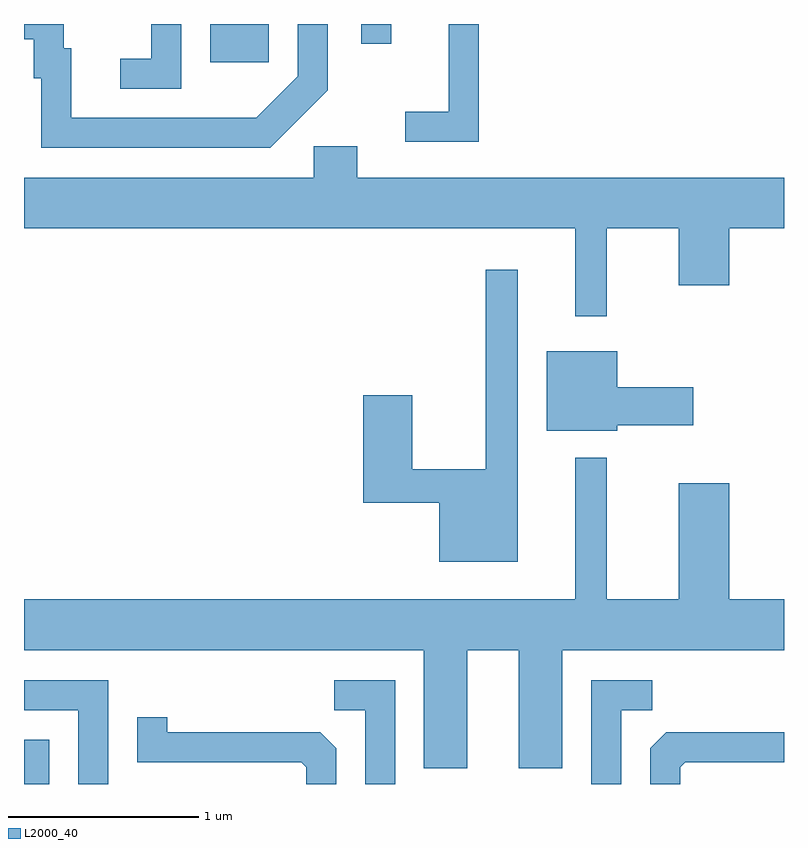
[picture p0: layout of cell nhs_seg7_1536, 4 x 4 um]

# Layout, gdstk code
import gdstk
lib = gdstk.Library(unit=1e-6, precision=1e-09)
def R(c, l, rs):  # rectangles x0, y0, x1, y1
    for r in rs: c.add(gdstk.rectangle(r[:2], r[2:], *l))
def P(c, l, *ps):  # polygons
    for p in ps: c.add(gdstk.Polygon(p, *l))
L2000_40 = (2000, 40)

nhs_seg7_1536 = lib.new_cell('nhs_seg7_1536')
R(nhs_seg7_1536, L2000_40, [(231.611,1740.252,231.744,1740.484), (232.591,1744.051,232.899,1744.252), (233.386,1744.148,233.544,1744.252)])
P(nhs_seg7_1536, L2000_40, [(233.209,1743.904),(233.209,1744.252),(233.051,1744.252),(233.051,1743.977),(232.834,1743.759),(231.859,1743.759),(231.859,1744.124),(231.819,1744.124),(231.819,1744.252),(231.611,1744.252),(231.611,1744.171),(231.661,1744.171),(231.661,1743.966),(231.701,1743.966),(231.701,1743.601),(232.907,1743.601)],
  [(234.004,1744.252),(233.846,1744.252),(233.846,1743.789),(233.618,1743.789),(233.618,1743.631),(234.004,1743.631)],
  [(232.439,1744.252),(232.281,1744.252),(232.281,1744.069),(232.118,1744.069),(232.118,1743.911),(232.439,1743.911)],
  [(234.679,1743.176),(235.056,1743.176),(235.056,1742.876),(235.324,1742.876),(235.324,1743.176),(235.611,1743.176),(235.611,1743.444),(233.364,1743.444),(233.364,1743.609),(233.136,1743.609),(233.136,1743.444),(231.611,1743.444),(231.611,1743.176),(234.511,1743.176),(234.511,1742.713),(234.679,1742.713)],
  [(234.209,1742.958),(234.041,1742.958),(234.041,1741.909),(233.654,1741.909),(233.654,1742.299),(233.396,1742.299),(233.396,1741.731),(233.796,1741.731),(233.796,1741.421),(234.209,1741.421)],
  [(234.734,1742.141),(235.134,1742.141),(235.134,1742.339),(234.734,1742.339),(234.734,1742.529),(234.361,1742.529),(234.361,1742.111),(234.734,1742.111)],
  [(235.056,1741.834),(235.056,1741.224),(234.679,1741.224),(234.679,1741.968),(234.511,1741.968),(234.511,1741.224),(231.611,1741.224),(231.611,1740.956),(233.716,1740.956),(233.716,1740.336),(233.944,1740.336),(233.944,1740.956),(234.216,1740.956),(234.216,1740.336),(234.444,1740.336),(234.444,1740.956),(235.611,1740.956),(235.611,1741.224),(235.324,1741.224),(235.324,1741.834)],
  [(233.564,1740.799),(233.243,1740.799),(233.243,1740.641),(233.406,1740.641),(233.406,1740.252),(233.564,1740.252)],
  [(232.054,1740.799),(231.611,1740.799),(231.611,1740.641),(231.896,1740.641),(231.896,1740.252),(232.054,1740.252)],
  [(234.754,1740.641),(234.918,1740.641),(234.918,1740.799),(234.596,1740.799),(234.596,1740.252),(234.754,1740.252)],
  [(233.254,1740.439),(233.169,1740.524),(232.364,1740.524),(232.364,1740.603),(232.206,1740.603),(232.206,1740.366),(233.069,1740.366),(233.096,1740.339),(233.096,1740.252),(233.254,1740.252)],
  [(235.064,1740.339),(235.092,1740.366),(235.611,1740.366),(235.611,1740.524),(234.992,1740.524),(234.906,1740.439),(234.906,1740.252),(235.064,1740.252)])

lib.write_gds('nhs_seg7_1536.gds')
